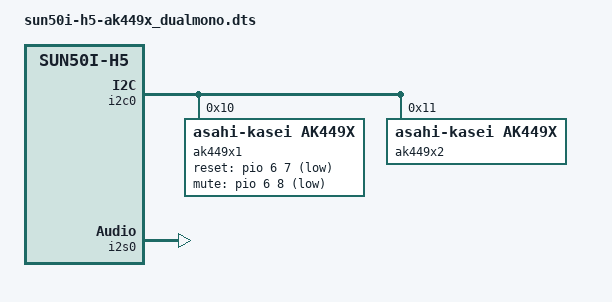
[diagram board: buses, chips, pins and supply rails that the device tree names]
// Definitions for NanoPiNeo + ak449x dac
/dts-v1/;
/plugin/;

/ {
	compatible = "friendlyelec,nanopi-neo2", "friendlyelec,nanopi-neo-plus2", "allwinner,sun50i-h5";

	fragment@0 {
		target = <&i2c0>;
		__overlay__ {
			#address-cells = <1>;
			#size-cells = <0>;
			status = "okay";

			ak449x1: ak449x-codec@10 {
				#sound-dai-cells = <0>;
				compatible = "asahi-kasei,ak449x";
				reg = <0x10>; /* I2C addr */
				status = "okay";

				chip = "AK4495"; /* AK4490/AK4495/AK4497/AK4493 */
				chmode = "MONO_LCH"; /* STEREO/STEREO_INVERT/MONO_LCH/MONO_RCH */
				phase = "LIRN";  /* LNRN LNRI LIRN LIRI - N=non-invert I=invert*/
				reset-gpios = <&pio 6 7 1>; /* PG7 */ /* pdn pin */
				mute-gpios = <&pio 6 8 1>; /* PG8 */ /* external mute */
			};
			ak449x2: ak449x-codec@11 {
				#sound-dai-cells = <0>;
				compatible = "asahi-kasei,ak449x";
				reg = <0x11>; /* I2C addr */
				status = "okay";

				chip = "AK4495"; /* AK4490/AK4495/AK4497/AK4493 */
				chmode = "MONO_RCH"; /* STEREO/STEREO_INVERT/MONO_LCH/MONO_RCH */
				phase = "LIRN"; /* LNRN LNRI LIRN LIRI - N=non-invert I=invert*/
			};
		};
	};

    fragment@1 {
        target = <&i2s0>;
        __overlay__ {
            status = "okay";
        };
    };

	fragment@2 {
        target-path = "/";
		__overlay__ {
            sound {
				compatible = "i2smfdl,multi-function-dai-link";
				i2s-controller = <&i2s0>;
				i2s-codec = <&ak449x1 &ak449x2>;
				status = "okay";

				clk_mode = "NORMAL";
				min_fs  = <64>; /* 0 = slotwidth * 2 */
				max_fs  = <1024>;

				daifmt_master_override = "CBS_CFS";
			};
		};
	};
};

